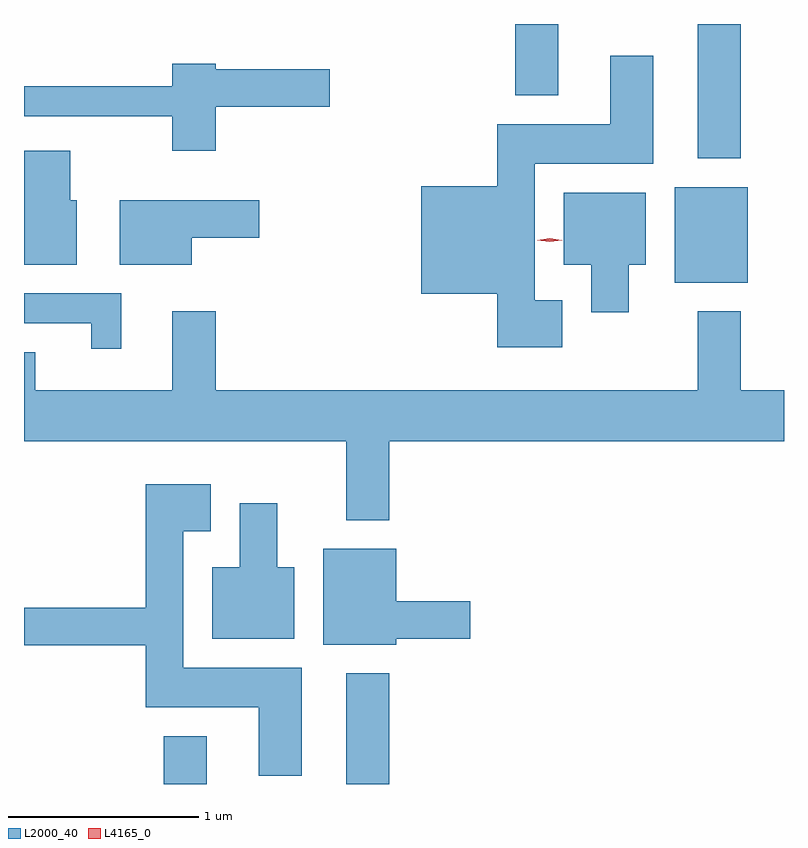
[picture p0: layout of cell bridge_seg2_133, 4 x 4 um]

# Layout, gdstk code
import gdstk
lib = gdstk.Library(unit=1e-6, precision=1e-09)
def R(c, l, rs):  # rectangles x0, y0, x1, y1
    for r in rs: c.add(gdstk.rectangle(r[:2], r[2:], *l))
def P(c, l, *ps):  # polygons
    for p in ps: c.add(gdstk.Polygon(p, *l))
L2000_40 = (2000, 40)
L4165_0 = (4165, 0)

bridge_seg2_133 = lib.new_cell('bridge_seg2_133')
R(bridge_seg2_133, L2000_40, [(976.851,1070.932,977.079,1071.184), (977.811,1070.932,978.039,1071.514), (979.541,1073.571,979.924,1074.074), (979.661,1074.226,979.889,1074.932), (978.701,1074.556,978.929,1074.932)])
P(bridge_seg2_133, L2000_40, [(978.949,1073.479),(978.804,1073.479),(978.804,1074.196),(979.429,1074.196),(979.429,1074.764),(979.201,1074.764),(979.201,1074.404),(978.606,1074.404),(978.606,1074.079),(978.206,1074.079),(978.206,1073.511),(978.606,1073.511),(978.606,1073.231),(978.949,1073.231)],
  [(977.124,1074.496),(977.724,1074.496),(977.724,1074.694),(977.124,1074.694),(977.124,1074.724),(976.896,1074.724),(976.896,1074.604),(976.116,1074.604),(976.116,1074.446),(976.896,1074.446),(976.896,1074.266),(977.124,1074.266)],
  [(976.394,1074.004),(976.359,1074.004),(976.359,1074.264),(976.116,1074.264),(976.116,1073.666),(976.394,1073.666)],
  [(979.299,1073.666),(979.389,1073.666),(979.389,1074.044),(978.956,1074.044),(978.956,1073.666),(979.101,1073.666),(979.101,1073.416),(979.299,1073.416)],
  [(976.999,1073.806),(977.354,1073.806),(977.354,1074.004),(976.621,1074.004),(976.621,1073.666),(976.999,1073.666)],
  [(976.629,1073.514),(976.116,1073.514),(976.116,1073.356),(976.471,1073.356),(976.471,1073.223),(976.629,1073.223)],
  [(978.039,1072.736),(980.116,1072.736),(980.116,1073.004),(979.889,1073.004),(979.889,1073.419),(979.661,1073.419),(979.661,1073.004),(977.124,1073.004),(977.124,1073.419),(976.896,1073.419),(976.896,1073.004),(976.174,1073.004),(976.174,1073.204),(976.116,1073.204),(976.116,1072.736),(977.811,1072.736),(977.811,1072.321),(978.039,1072.321)],
  [(977.579,1071.544),(976.954,1071.544),(976.954,1072.261),(977.099,1072.261),(977.099,1072.509),(976.756,1072.509),(976.756,1071.859),(976.116,1071.859),(976.116,1071.661),(976.756,1071.661),(976.756,1071.336),(977.351,1071.336),(977.351,1070.976),(977.579,1070.976)],
  [(977.539,1072.074),(977.449,1072.074),(977.449,1072.409),(977.251,1072.409),(977.251,1072.074),(977.106,1072.074),(977.106,1071.696),(977.539,1071.696)],
  [(978.074,1071.696),(978.464,1071.696),(978.464,1071.894),(978.074,1071.894),(978.074,1072.169),(977.691,1072.169),(977.691,1071.666),(978.074,1071.666)])
P(bridge_seg2_133, L4165_0, [(978.882,1073.785),(978.816,1073.794),(978.816,1073.795),(978.816,1073.795),(978.882,1073.805),(978.947,1073.795),(978.948,1073.795),(978.947,1073.794)])

lib.write_gds('bridge_seg2_133.gds')
